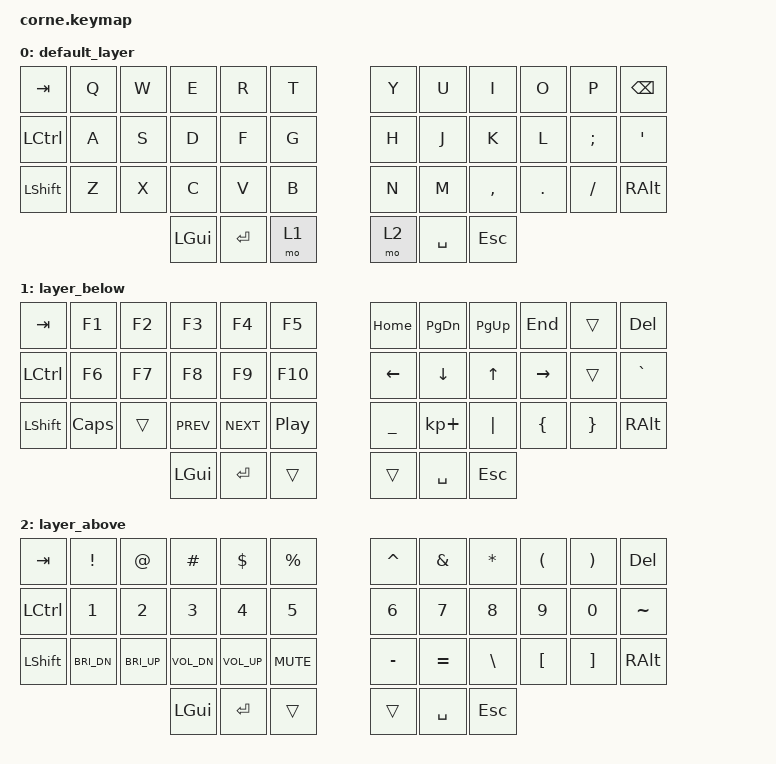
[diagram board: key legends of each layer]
/*
 * Copyright (c) 2020 The ZMK Contributors
 *
 * SPDX-License-Identifier: MIT
 */

#include <behaviors.dtsi>
#include <dt-bindings/zmk/keys.h>
#include <dt-bindings/zmk/bt.h>

/ {
  combos {
    compatible = "zmk,combos";
    combo_blt_clear {
      timeout-ms = <50>;
      key-positions = <36 37 38 39 40 41>;
      bindings = <&bt BT_CLR>;
    };
    combo_blt_profile_1 {
      timeout-ms = <50>;
      key-positions = <38 39 40 41>;
      bindings = <&bt BT_SEL 0>;
    };
    combo_blt_profile_2 {
      timeout-ms = <50>;
      key-positions = <36 37 38 39>;
      bindings = <&bt BT_SEL 1>;
    };
  };
// --------------------------key-positions--------------------------------------------------
// |  0 |  1 |  2 |  3 |  4 |  5 |   |  6 |  7 |  8 |  9 | 10 | 11 |
// | 12 | 13 | 14 | 15 | 16 | 17 |   | 18 | 19 | 20 | 21 | 22 | 23 |
// | 24 | 25 | 26 | 27 | 28 | 29 |   | 30 | 31 | 32 | 33 | 34 | 35 |
//                | 36 | 37 | 38 |   | 39 | 40 | 41 |

  keymap {
    compatible = "zmk,keymap";
    default_layer {
// -----------------------------------------------------------------------------------------
// | TAB   |  Q  |  W  |  E  |  R  |  T  |   |  Y  |  U   |  I  |  O  |  P  | BKSP |
// | CTRL  |  A  |  S  |  D  |  F  |  G  |   |  H  |  J   |  K  |  L  |  ;  |  '   |
// | LSHFT |  Z  |  X  |  C  |  V  |  B  |   |  N  |  M   |  ,  |  .  |  /  | ALT  |
//                     | GUI | ENT | LWR |   | RSE | SPC  | ESC |
      bindings = <
&kp TAB   &kp Q &kp W &kp E &kp R &kp T   &kp Y &kp U  &kp I     &kp O   &kp P    &kp BSPC
&kp LCTRL &kp A &kp S &kp D &kp F &kp G   &kp H &kp J  &kp K     &kp L   &kp SEMI &kp SQT
&kp LSHFT &kp Z &kp X &kp C &kp V &kp B   &kp N &kp M  &kp COMMA &kp DOT &kp FSLH &kp RALT
                 &kp LGUI &kp RET &mo 1   &mo 2 &kp SPACE &kp ESC
      >;
    };

    layer_below { // layer 1
// -----------------------------------------------------------------------------------------
// | TAB   | F1  | F2  | F3  | F4  | F5  |   | HOM | PGD | PGU | END |     | DEL |
// | CTRL  | F6  | F7  | F8  | F9  | F10 |   | LFT | DWN | UP  | RGT |     |  `  |
// | LSHFT | CAPS|     | PRV | NXT | PP  |   |  _  |  +  |  |  |  {  |  }  | ALT |
//                     | GUI | ENT |     |   |     | SPC | ESC |
      bindings = <
&kp  TAB  &kp F1   &kp F2 &kp F3     &kp F4     &kp F5     &kp HOME  &kp PG_DN   &kp PG_UP &kp END   &trans   &kp DEL
&kp LCTRL &kp F6   &kp F7 &kp F8     &kp F9     &kp F10    &kp LEFT  &kp DOWN    &kp UP    &kp RIGHT &trans   &kp GRAVE
&kp LSHFT &kp CAPS &trans &kp C_PREV &kp C_NEXT &kp C_PP   &kp UNDER &kp KP_PLUS &kp PIPE  &kp LBRC  &kp RBRC &kp RALT
                                 &kp LGUI &kp RET &trans   &trans &kp SPACE &kp ESC
      >;
    };

    layer_above { // layer 2
// ----------------------------------------------------------------------------------------
// |  TAB |  !  |  @  |  #  |  $  |  %  |   |  ^  |  &  |  *  |  (  |  )  | DEL  |
// | CTRL |  1  |  2  |  3  |  4  |  5  |   |  6  |  7  |  8  |  9  |  0  |  ~   |
// | LSHFT| DDWN| DUP | VDWN| VUP | VMT |   |  -  |  =  |  \  |  [  |  ]  | ALT  |
//                    | GUI | ENT |     |   |     | SPC | ESC |
      bindings = <
&kp TAB    &kp EXCL     &kp AT       &kp HASH     &kp DLLR     &kp PRCNT    &kp CARET &kp AMPS   &kp STAR  &kp LPAR  &kp RPAR  &kp DEL
&kp LCTRL  &kp N1       &kp N2       &kp N3       &kp N4       &kp N5       &kp N6    &kp N7     &kp N8    &kp N9    &kp N0    &kp TILDE
&kp LSHFT  &kp C_BRI_DN &kp C_BRI_UP &kp C_VOL_DN &kp C_VOL_UP &kp K_MUTE   &kp MINUS &kp EQUAL  &kp BSLH  &kp LBKT  &kp RBKT  &kp RALT
                                                  &kp LGUI &kp RET &trans   &trans &kp SPACE &kp ESC
      >;
    };
  };
};
